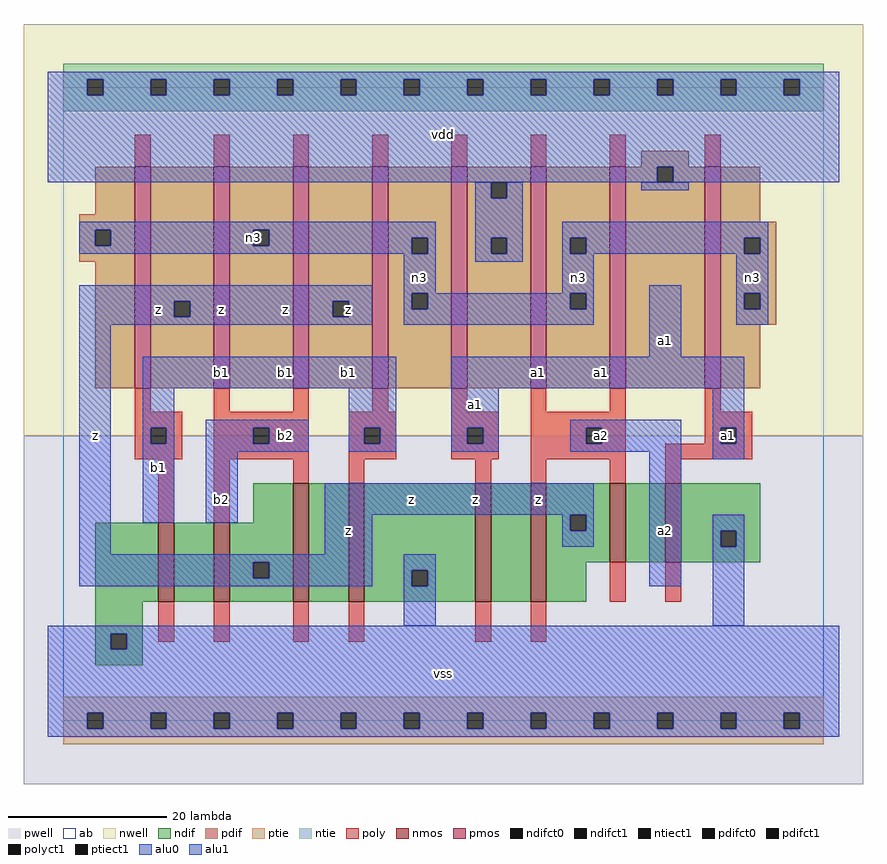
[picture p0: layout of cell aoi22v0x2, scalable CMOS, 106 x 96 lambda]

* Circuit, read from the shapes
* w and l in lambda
.subckt aoi22v0x2 a1 a2 b1 b2 n3 vdd vss z
M1 n1 b1 vss vss nfet w=10 l=2
M2 z b2 n1 vss nfet w=10 l=2
M3 n2 b2 z vss nfet w=15 l=2
M4 vss b1 n2 vss nfet w=15 l=2
M5 n4 a1 vss vss nfet w=15 l=2
M6 z a2 n4 vss nfet w=15 l=2
M7 n5 a2 z vss nfet w=10 l=2
M8 vss a1 n5 vss nfet w=10 l=2
M9 z b1 n3 vdd pfet w=28 l=2 m=2
M10 n3 b2 z vdd pfet w=28 l=2 m=2
M11 vdd a1 n3 vdd pfet w=28 l=2 m=2
M12 n3 a2 vdd vdd pfet w=28 l=2 m=2
.ends

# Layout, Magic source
magic
tech scmos
<< ab >>
rect 0 0 96 80
<< nwell >>
rect -5 36 101 88
<< pwell >>
rect -5 -8 101 36
<< poly >>
rect 9 70 11 74
rect 19 70 21 74
rect 29 70 31 74
rect 39 70 41 74
rect 49 70 51 74
rect 59 70 61 74
rect 69 70 71 74
rect 81 70 83 74
rect 9 39 11 42
rect 19 39 21 42
rect 29 39 31 42
rect 39 39 41 42
rect 49 39 51 42
rect 59 39 61 42
rect 69 39 71 42
rect 9 37 15 39
rect 9 35 11 37
rect 13 35 15 37
rect 9 33 15 35
rect 19 37 31 39
rect 19 35 24 37
rect 26 35 31 37
rect 19 33 31 35
rect 12 25 14 33
rect 19 25 21 33
rect 29 30 31 33
rect 36 37 42 39
rect 36 35 38 37
rect 40 35 42 37
rect 36 33 42 35
rect 49 37 55 39
rect 49 35 51 37
rect 53 35 55 37
rect 49 33 55 35
rect 59 37 71 39
rect 59 35 66 37
rect 68 35 71 37
rect 81 39 83 42
rect 81 37 87 39
rect 81 35 83 37
rect 85 35 87 37
rect 59 33 71 35
rect 36 30 38 33
rect 52 30 54 33
rect 59 30 61 33
rect 69 30 71 33
rect 76 33 87 35
rect 76 30 78 33
rect 69 15 71 20
rect 76 15 78 20
rect 12 10 14 15
rect 19 10 21 15
rect 29 10 31 15
rect 36 10 38 15
rect 52 10 54 15
rect 59 10 61 15
<< ndif >>
rect 24 25 29 30
rect 4 15 12 25
rect 14 15 19 25
rect 21 20 29 25
rect 21 18 24 20
rect 26 18 29 20
rect 21 15 29 18
rect 31 15 36 30
rect 38 19 52 30
rect 38 17 44 19
rect 46 17 52 19
rect 38 15 52 17
rect 54 15 59 30
rect 61 26 69 30
rect 61 24 64 26
rect 66 24 69 26
rect 61 20 69 24
rect 71 20 76 30
rect 78 24 88 30
rect 78 22 83 24
rect 85 22 88 24
rect 78 20 88 22
rect 61 15 66 20
rect 4 11 10 15
rect 4 9 6 11
rect 8 9 10 11
rect 4 7 10 9
<< pdif >>
rect 73 70 79 72
rect 4 64 9 70
rect 2 62 9 64
rect 2 60 4 62
rect 6 60 9 62
rect 2 58 9 60
rect 4 42 9 58
rect 11 53 19 70
rect 11 51 14 53
rect 16 51 19 53
rect 11 42 19 51
rect 21 62 29 70
rect 21 60 24 62
rect 26 60 29 62
rect 21 42 29 60
rect 31 53 39 70
rect 31 51 34 53
rect 36 51 39 53
rect 31 42 39 51
rect 41 61 49 70
rect 41 59 44 61
rect 46 59 49 61
rect 41 54 49 59
rect 41 52 44 54
rect 46 52 49 54
rect 41 42 49 52
rect 51 68 59 70
rect 51 66 54 68
rect 56 66 59 68
rect 51 61 59 66
rect 51 59 54 61
rect 56 59 59 61
rect 51 42 59 59
rect 61 61 69 70
rect 61 59 64 61
rect 66 59 69 61
rect 61 54 69 59
rect 61 52 64 54
rect 66 52 69 54
rect 61 42 69 52
rect 71 68 75 70
rect 77 68 81 70
rect 71 42 81 68
rect 83 63 88 70
rect 83 61 90 63
rect 83 59 86 61
rect 88 59 90 61
rect 83 54 90 59
rect 83 52 86 54
rect 88 52 90 54
rect 83 50 90 52
rect 83 42 88 50
<< alu1 >>
rect -2 81 98 82
rect -2 79 3 81
rect 5 79 11 81
rect 13 79 19 81
rect 21 79 27 81
rect 29 79 35 81
rect 37 79 43 81
rect 45 79 51 81
rect 53 79 59 81
rect 61 79 67 81
rect 69 79 75 81
rect 77 79 83 81
rect 85 79 91 81
rect 93 79 98 81
rect -2 70 98 79
rect -2 68 75 70
rect 77 68 98 70
rect 2 53 39 55
rect 2 51 14 53
rect 16 51 34 53
rect 36 51 39 53
rect 2 50 39 51
rect 2 21 6 50
rect 74 46 78 55
rect 10 42 42 46
rect 10 37 14 42
rect 10 35 11 37
rect 13 35 14 37
rect 10 25 14 35
rect 18 37 31 38
rect 18 35 24 37
rect 26 35 31 37
rect 18 34 31 35
rect 36 37 42 42
rect 36 35 38 37
rect 40 35 42 37
rect 36 34 42 35
rect 49 42 86 46
rect 49 37 55 42
rect 49 35 51 37
rect 53 35 55 37
rect 49 34 55 35
rect 64 37 78 38
rect 64 35 66 37
rect 68 35 78 37
rect 64 34 78 35
rect 18 25 22 34
rect 33 26 67 30
rect 33 21 39 26
rect 63 24 64 26
rect 66 24 67 26
rect 63 22 67 24
rect 2 20 39 21
rect 2 18 24 20
rect 26 18 39 20
rect 2 17 39 18
rect 74 17 78 34
rect 82 37 86 42
rect 82 35 83 37
rect 85 35 86 37
rect 82 33 86 35
rect -2 11 98 12
rect -2 9 6 11
rect 8 9 98 11
rect -2 1 98 9
rect -2 -1 3 1
rect 5 -1 11 1
rect 13 -1 19 1
rect 21 -1 27 1
rect 29 -1 35 1
rect 37 -1 43 1
rect 45 -1 51 1
rect 53 -1 59 1
rect 61 -1 67 1
rect 69 -1 75 1
rect 77 -1 83 1
rect 85 -1 91 1
rect 93 -1 98 1
rect -2 -2 98 -1
<< ptie >>
rect 0 1 96 3
rect 0 -1 3 1
rect 5 -1 11 1
rect 13 -1 19 1
rect 21 -1 27 1
rect 29 -1 35 1
rect 37 -1 43 1
rect 45 -1 51 1
rect 53 -1 59 1
rect 61 -1 67 1
rect 69 -1 75 1
rect 77 -1 83 1
rect 85 -1 91 1
rect 93 -1 96 1
rect 0 -3 96 -1
<< ntie >>
rect 0 81 96 83
rect 0 79 3 81
rect 5 79 11 81
rect 13 79 19 81
rect 21 79 27 81
rect 29 79 35 81
rect 37 79 43 81
rect 45 79 51 81
rect 53 79 59 81
rect 61 79 67 81
rect 69 79 75 81
rect 77 79 83 81
rect 85 79 91 81
rect 93 79 96 81
rect 0 77 96 79
<< nmos >>
rect 12 15 14 25
rect 19 15 21 25
rect 29 15 31 30
rect 36 15 38 30
rect 52 15 54 30
rect 59 15 61 30
rect 69 20 71 30
rect 76 20 78 30
<< pmos >>
rect 9 42 11 70
rect 19 42 21 70
rect 29 42 31 70
rect 39 42 41 70
rect 49 42 51 70
rect 59 42 61 70
rect 69 42 71 70
rect 81 42 83 70
<< polyct1 >>
rect 11 35 13 37
rect 24 35 26 37
rect 38 35 40 37
rect 51 35 53 37
rect 66 35 68 37
rect 83 35 85 37
<< ndifct0 >>
rect 44 17 46 19
rect 83 22 85 24
<< ndifct1 >>
rect 24 18 26 20
rect 64 24 66 26
rect 6 9 8 11
<< ntiect1 >>
rect 3 79 5 81
rect 11 79 13 81
rect 19 79 21 81
rect 27 79 29 81
rect 35 79 37 81
rect 43 79 45 81
rect 51 79 53 81
rect 59 79 61 81
rect 67 79 69 81
rect 75 79 77 81
rect 83 79 85 81
rect 91 79 93 81
<< ptiect1 >>
rect 3 -1 5 1
rect 11 -1 13 1
rect 19 -1 21 1
rect 27 -1 29 1
rect 35 -1 37 1
rect 43 -1 45 1
rect 51 -1 53 1
rect 59 -1 61 1
rect 67 -1 69 1
rect 75 -1 77 1
rect 83 -1 85 1
rect 91 -1 93 1
<< pdifct0 >>
rect 4 60 6 62
rect 24 60 26 62
rect 44 59 46 61
rect 44 52 46 54
rect 54 66 56 68
rect 54 59 56 61
rect 64 59 66 61
rect 64 52 66 54
rect 86 59 88 61
rect 86 52 88 54
<< pdifct1 >>
rect 14 51 16 53
rect 34 51 36 53
rect 75 68 77 70
<< alu0 >>
rect 52 66 54 68
rect 56 66 58 68
rect 73 67 79 68
rect 2 62 47 63
rect 2 60 4 62
rect 6 60 24 62
rect 26 61 47 62
rect 26 60 44 61
rect 2 59 44 60
rect 46 59 47 61
rect 43 54 47 59
rect 52 61 58 66
rect 52 59 54 61
rect 56 59 58 61
rect 52 58 58 59
rect 63 61 89 63
rect 63 59 64 61
rect 66 59 86 61
rect 88 59 89 61
rect 63 54 67 59
rect 43 52 44 54
rect 46 52 64 54
rect 66 52 67 54
rect 43 50 67 52
rect 85 54 89 59
rect 85 52 86 54
rect 88 52 89 54
rect 85 50 89 52
rect 43 19 47 21
rect 43 17 44 19
rect 46 17 47 19
rect 82 24 86 26
rect 82 22 83 24
rect 85 22 86 24
rect 43 12 47 17
rect 82 12 86 22
<< labels >>
rlabel alu0 45 56 45 56 6 n3
rlabel alu0 24 61 24 61 6 n3
rlabel alu0 65 56 65 56 6 n3
rlabel alu0 87 56 87 56 6 n3
rlabel alu1 12 32 12 32 6 b1
rlabel alu1 4 36 4 36 6 z
rlabel alu1 12 52 12 52 6 z
rlabel alu1 20 28 20 28 6 b2
rlabel alu1 20 44 20 44 6 b1
rlabel alu1 28 36 28 36 6 b2
rlabel alu1 28 44 28 44 6 b1
rlabel alu1 28 52 28 52 6 z
rlabel alu1 20 52 20 52 6 z
rlabel alu1 48 6 48 6 6 vss
rlabel alu1 36 24 36 24 6 z
rlabel alu1 44 28 44 28 6 z
rlabel alu1 52 28 52 28 6 z
rlabel alu1 36 44 36 44 6 b1
rlabel alu1 52 40 52 40 6 a1
rlabel alu1 36 52 36 52 6 z
rlabel alu1 48 74 48 74 6 vdd
rlabel alu1 60 28 60 28 6 z
rlabel alu1 76 24 76 24 6 a2
rlabel alu1 60 44 60 44 6 a1
rlabel alu1 68 36 68 36 6 a2
rlabel alu1 68 44 68 44 6 a1
rlabel alu1 76 48 76 48 6 a1
rlabel polyct1 84 36 84 36 6 a1
<< end >>
